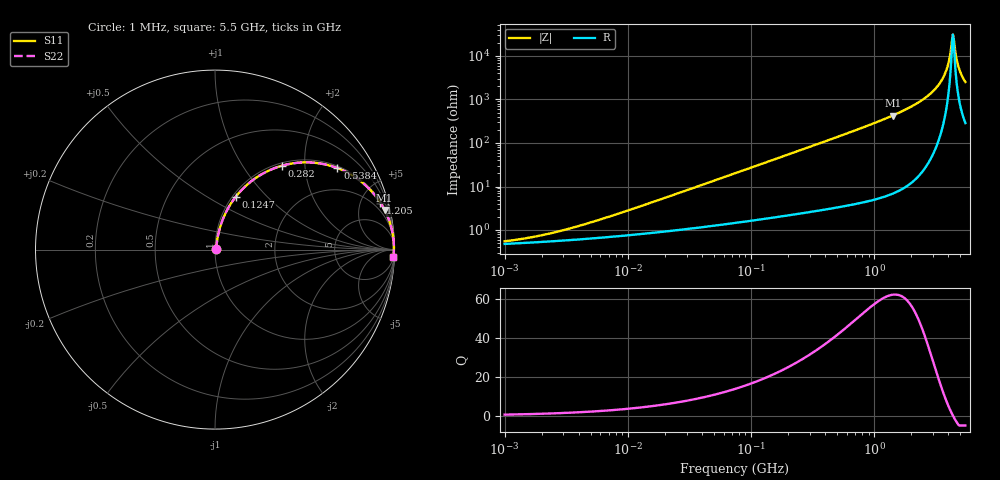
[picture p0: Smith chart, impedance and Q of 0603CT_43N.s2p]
# MHz  S  MA  R  50
!Freq  MagS11  AngS11  MagS21  AngS21  MagS12  AngS12  MagS22  AngS22
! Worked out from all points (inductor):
!   867 points, 1 MHz to 5.5 GHz, reference 50 ohm
!   read as one part in series: L = 43 nH near 7.922 MHz
!   highest Q = 62.3 at 1.413 GHz (marker M1), where L = 48 nH
!   self-resonance near 4.351 GHz
!   S11 on the Smith chart (normalised r, x): 1 MHz: 1.01, +0.01; 124.7 MHz: 1.04, +0.67; 282 MHz: 1.05, +1.53; 538.4 MHz: 1.07, +2.95; 1.205 GHz: 1.12, +7.05; 5.5 GHz: 7, -50
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1  0.00548 29.2  0.9952 -0.2  0.9952 -0.2  0.00548 29.2
2.006763  0.007563 45.2  0.9947 -0.3  0.9947 -0.3  0.007563 45.2
4.232522  0.0129 61.1  0.9938 -0.7  0.9938 -0.7  0.0129 61.1
17.73687  0.04826 76.8  0.9901 -2.7  0.9901 -2.7  0.04826 76.8
74.32841  0.1947 74.7  0.9669 -11.2  0.9669 -11.2  0.1947 74.7
124.7  0.3149 68.6  0.9327 -18.3  0.9327 -18.3  0.3149 68.6
281.9804  0.5984 51.4  0.7818 -36.7  0.7818 -36.7  0.5984 51.4
314.5966  0.6401 48.5  0.7488 -39.8  0.7488 -39.8  0.6401 48.5
538.4039  0.8194 33.7  0.5546 -55.0  0.5546 -55.0  0.8194 33.7
1205.423  0.9579 15.8  0.2716 -73.3  0.2716 -73.3  0.9579 15.8
1318.353  0.9652 14.3  0.2462 -74.8  0.2462 -74.8  0.9652 14.3
1413.453  0.9702 13.1  0.2273 -75.9  0.2273 -75.9  0.9702 13.1
2347.857  0.9915 6.4  0.111 -82.4  0.111 -82.4  0.9915 6.4
3228.163  0.9963 3.0  0.05166 -84.4  0.05166 -84.4  0.9963 3.0
3823.128  0.997 1.3  0.02249 -81.7  0.02249 -81.7  0.997 1.3
4018.146  0.997 0.8  0.01416 -77.4  0.01416 -77.4  0.997 0.8
4265.343  0.9969 0.2  0.004873 -50.2  0.004873 -50.2  0.9969 0.2
4351.077  0.9968 0.0  0.003212 -6.9  0.003212 -6.9  0.9968 0.0
4482.919  0.9967 -0.3  0.005718 54.2  0.005718 54.2  0.9967 -0.3
4711.592  0.9964 -0.7  0.01355 74.0  0.01355 74.0  0.9964 -0.7
4902.902  0.996 -1.1  0.02017 78.1  0.02017 78.1  0.996 -1.1
5500  0.9947 -2.3  0.03972 81.2  0.03972 81.2  0.9947 -2.3
